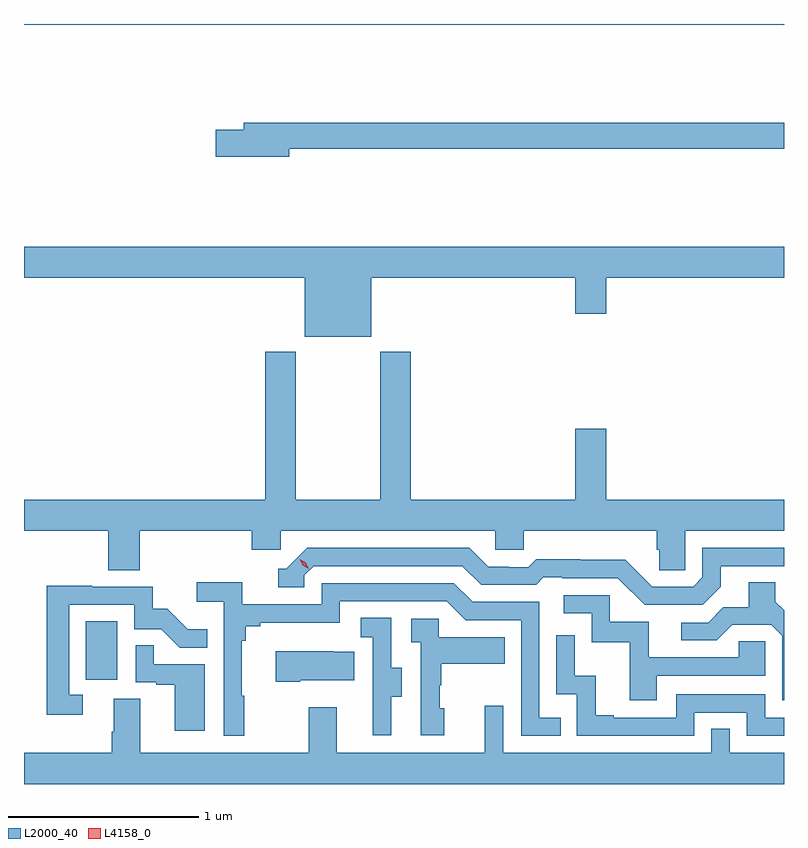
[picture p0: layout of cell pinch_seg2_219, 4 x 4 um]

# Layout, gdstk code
import gdstk
lib = gdstk.Library(unit=1e-6, precision=1e-09)
def R(c, l, rs):  # rectangles x0, y0, x1, y1
    for r in rs: c.add(gdstk.rectangle(r[:2], r[2:], *l))
def P(c, l, *ps):  # polygons
    for p in ps: c.add(gdstk.Polygon(p, *l))
L2000_40 = (2000, 40)
L4158_0 = (4158, 0)

pinch_seg2_219 = lib.new_cell('pinch_seg2_219')
R(pinch_seg2_219, L2000_40, [(1001.594,657.51,1001.758,657.817), (1001.268,660.956,1005.268,660.96)])
P(pinch_seg2_219, L2000_40, [(1002.664,660.304),(1005.268,660.304),(1005.268,660.44),(1002.425,660.44),(1002.425,660.404),(1002.276,660.404),(1002.276,660.262),(1002.664,660.262)],
  [(1003.096,659.624),(1004.168,659.624),(1004.168,659.436),(1004.332,659.436),(1004.332,659.624),(1005.268,659.624),(1005.268,659.788),(1001.268,659.788),(1001.268,659.624),(1002.746,659.624),(1002.746,659.315),(1003.096,659.315)],
  [(1001.876,658.292),(1002.467,658.292),(1002.467,658.194),(1002.618,658.194),(1002.618,658.292),(1003.749,658.292),(1003.749,658.194),(1003.899,658.194),(1003.899,658.292),(1004.597,658.292),(1004.597,658.194),(1004.611,658.194),(1004.611,658.084),(1004.748,658.084),(1004.748,658.292),(1005.268,658.292),(1005.268,658.456),(1004.332,658.456),(1004.332,658.831),(1004.168,658.831),(1004.168,658.456),(1003.304,658.456),(1003.304,659.236),(1003.144,659.236),(1003.144,658.456),(1002.699,658.456),(1002.699,659.236),(1002.539,659.236),(1002.539,658.456),(1001.268,658.456),(1001.268,658.292),(1001.711,658.292),(1001.711,658.084),(1001.876,658.084)],
  [(1004.935,657.997),(1004.935,658.107),(1005.268,658.107),(1005.268,658.203),(1004.838,658.203),(1004.838,658.047),(1004.79,657.999),(1004.574,657.999),(1004.432,658.141),(1004.196,658.141),(1004.196,658.144),(1003.963,658.144),(1003.921,658.101),(1003.818,658.101),(1003.818,658.104),(1003.711,658.104),(1003.612,658.203),(1002.759,658.203),(1002.648,658.092),(1002.605,658.092),(1002.605,657.996),(1002.744,657.996),(1002.744,658.059),(1002.792,658.107),(1003.575,658.107),(1003.674,658.008),(1003.963,658.008),(1004.002,658.047),(1004.101,658.047),(1004.101,658.044),(1004.394,658.044),(1004.535,657.903),(1004.841,657.903)],
  [(1002.427,657.425),(1002.415,657.425),(1002.415,657.713),(1002.434,657.713),(1002.434,657.79),(1002.511,657.79),(1002.511,657.809),(1002.93,657.809),(1002.93,657.921),(1003.494,657.921),(1003.593,657.822),(1003.884,657.822),(1003.884,657.213),(1004.093,657.213),(1004.093,657.309),(1003.98,657.309),(1003.98,657.918),(1003.63,657.918),(1003.531,658.017),(1002.834,658.017),(1002.834,657.906),(1002.416,657.906),(1002.416,658.022),(1002.177,658.022),(1002.177,657.92),(1002.318,657.92),(1002.318,657.213),(1002.427,657.213)],
  [(1005.268,657.875),(1005.223,657.92),(1005.223,658.022),(1005.083,658.022),(1005.083,657.89),(1004.948,657.89),(1004.868,657.81),(1004.727,657.81),(1004.727,657.717),(1004.914,657.717),(1004.995,657.798),(1005.201,657.798),(1005.258,657.741),(1005.258,657.402),(1005.268,657.402)],
  [(1001.578,657.429),(1001.505,657.429),(1001.505,657.903),(1001.847,657.903),(1001.847,657.774),(1001.991,657.774),(1002.089,657.676),(1002.233,657.676),(1002.233,657.775),(1002.129,657.775),(1002.022,657.882),(1001.946,657.882),(1001.946,657.999),(1001.627,657.999),(1001.627,658.004),(1001.389,658.004),(1001.389,657.324),(1001.578,657.324)],
  [(1004.599,657.531),(1005.168,657.531),(1005.168,657.711),(1005.031,657.711),(1005.031,657.627),(1004.557,657.627),(1004.557,657.813),(1004.352,657.813),(1004.352,657.954),(1004.109,657.954),(1004.109,657.858),(1004.256,657.858),(1004.256,657.705),(1004.455,657.705),(1004.455,657.402),(1004.599,657.402)],
  [(1003.201,657.418),(1003.255,657.418),(1003.255,657.573),(1003.2,657.573),(1003.2,657.836),(1003.041,657.836),(1003.041,657.733),(1003.104,657.733),(1003.104,657.429),(1003.103,657.429),(1003.103,657.216),(1003.201,657.216)],
  [(1003.48,657.36),(1003.455,657.36),(1003.455,657.479),(1003.465,657.479),(1003.465,657.593),(1003.799,657.593),(1003.799,657.733),(1003.452,657.733),(1003.452,657.831),(1003.305,657.831),(1003.305,657.707),(1003.356,657.707),(1003.356,657.216),(1003.48,657.216)],
  [(1004.796,657.336),(1005.072,657.336),(1005.072,657.213),(1005.268,657.213),(1005.268,657.309),(1005.168,657.309),(1005.168,657.432),(1004.7,657.432),(1004.7,657.309),(1004.371,657.309),(1004.371,657.322),(1004.276,657.322),(1004.276,657.53),(1004.166,657.53),(1004.166,657.742),(1004.07,657.742),(1004.07,657.432),(1004.178,657.432),(1004.178,657.213),(1004.796,657.213)],
  [(1002.22,657.591),(1001.951,657.591),(1001.951,657.689),(1001.856,657.689),(1001.856,657.495),(1001.963,657.495),(1001.963,657.483),(1002.062,657.483),(1002.062,657.24),(1002.22,657.24)],
  [(1002.721,657.506),(1003.007,657.506),(1003.007,657.655),(1002.899,657.655),(1002.899,657.658),(1002.593,657.658),(1002.593,657.499),(1002.721,657.499)],
  [(1005.268,657.124),(1004.982,657.124),(1004.982,657.251),(1004.886,657.251),(1004.886,657.124),(1003.791,657.124),(1003.791,657.373),(1003.694,657.373),(1003.694,657.124),(1002.913,657.124),(1002.913,657.364),(1002.766,657.364),(1002.766,657.124),(1001.881,657.124),(1001.881,657.41),(1001.741,657.41),(1001.741,657.236),(1001.729,657.236),(1001.729,657.124),(1001.268,657.124),(1001.268,656.96),(1005.268,656.96)])
P(pinch_seg2_219, L4158_0, [(1002.766,658.092),(1002.735,658.111),(1002.719,658.143),(1002.719,658.144),(1002.719,658.144),(1002.75,658.124),(1002.766,658.092),(1002.766,658.092)])

lib.write_gds('pinch_seg2_219.gds')
